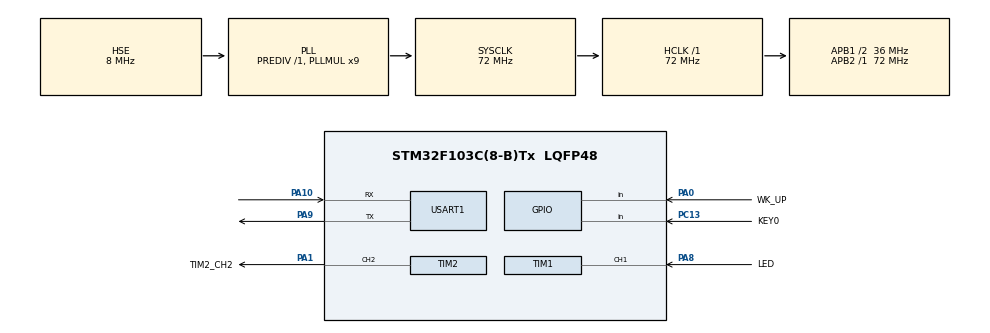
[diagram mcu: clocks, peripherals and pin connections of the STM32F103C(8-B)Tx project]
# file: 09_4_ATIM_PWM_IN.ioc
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Mcu.Family=STM32F1
Mcu.Name=STM32F103C(8-B)Tx
Mcu.Package=LQFP48
NVIC.PriorityGroup=NVIC_PRIORITYGROUP_2
NVIC.TIM1_CC_IRQn=true\:2\:1\:true\:false\:true\:true\:true\:true
NVIC.TIM1_UP_IRQn=true\:2\:1\:true\:false\:true\:true\:true\:true
NVIC.USART1_IRQn=true\:2\:0\:true\:false\:true\:true\:true\:true
PA0-WKUP.GPIO_Label=WK_UP
PA0-WKUP.GPIO_PuPd=GPIO_PULLDOWN
PA0-WKUP.Signal=GPIO_Input
PA1.GPIO_Label=TIM2_CH2
PA1.Signal=S_TIM2_CH2
PA10.Mode=Asynchronous
PA10.Signal=USART1_RX
PA13.Mode=Serial_Wire
PA13.Signal=SYS_JTMS-SWDIO
PA14.Mode=Serial_Wire
PA14.Signal=SYS_JTCK-SWCLK
PA8.GPIO_Label=LED
PA8.GPIO_Speed=GPIO_SPEED_FREQ_HIGH
PA8.Signal=S_TIM1_CH1
PA9.Mode=Asynchronous
PA9.Signal=USART1_TX
PC13-TAMPER-RTC.GPIO_Label=KEY0
PC13-TAMPER-RTC.GPIO_PuPd=GPIO_PULLUP
PC13-TAMPER-RTC.Signal=GPIO_Input
PC14-OSC32_IN.Mode=LSE-External-Oscillator
PC14-OSC32_IN.Signal=RCC_OSC32_IN
PC15-OSC32_OUT.Mode=LSE-External-Oscillator
PC15-OSC32_OUT.Signal=RCC_OSC32_OUT
PD0-OSC_IN.Mode=HSE-External-Oscillator
PD0-OSC_IN.Signal=RCC_OSC_IN
PD1-OSC_OUT.Mode=HSE-External-Oscillator
PD1-OSC_OUT.Signal=RCC_OSC_OUT
ProjectManager.HeapSize=0x200
ProjectManager.StackSize=0x400
ProjectManager.TargetToolchain=STM32CubeIDE
RCC.AHBFreq_Value=72000000
RCC.APB1CLKDivider=RCC_HCLK_DIV2
RCC.APB1Freq_Value=36000000
RCC.APB1TimFreq_Value=72000000
RCC.APB2Freq_Value=72000000
RCC.APB2TimFreq_Value=72000000
RCC.HCLKFreq_Value=72000000
RCC.PLLMUL=RCC_PLL_MUL9
RCC.PLLSourceVirtual=RCC_PLLSOURCE_HSE
RCC.SYSCLKFreq_VALUE=72000000
RCC.SYSCLKSource=RCC_SYSCLKSOURCE_PLLCLK
RCC.USBFreq_Value=72000000
SH.S_TIM1_CH1.0=TIM1_CH1,TriggerSource_TI1FP1
SH.S_TIM1_CH1.1=TIM1_CH1,Input_Capture1_from_TI1
SH.S_TIM2_CH2.0=TIM2_CH2,PWM Generation2 CH2
TIM1.AutoReloadPreload=TIM_AUTORELOAD_PRELOAD_ENABLE
TIM1.Channel-Input_Capture1_from_TI1=TIM_CHANNEL_1
TIM1.Channel-Input_Capture2_from_TI1_63=TIM_CHANNEL_2
TIM1.ICPolarity_CH2=TIM_INPUTCHANNELPOLARITY_FALLING
TIM2.AutoReloadPreload=TIM_AUTORELOAD_PRELOAD_ENABLE
TIM2.Channel-PWM\ Generation2\ CH2=TIM_CHANNEL_2
TIM2.OCPolarity_2=TIM_OCPOLARITY_LOW
TIM2.Period=10 - 1
TIM2.Prescaler=72 - 1
TIM2.Pulse-PWM\ Generation2\ CH2=5
USART1.VirtualMode=VM_ASYNC
VP_TIM1_VS_ClockSourceINT.Mode=Internal
VP_TIM1_VS_ControllerModeReset.Mode=Reset Mode
VP_TIM1_VS_indirect_ch1.Mode=Input_Capture2_from_TI1_63
VP_TIM2_VS_ClockSourceINT.Mode=Internal
board=custom

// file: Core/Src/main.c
/**
 ****************************************************************************************************
 * @file        main.c
 * @author      ALIENTEK
 * @brief       Advanced-control timers PWM input code
 * @license     Copyright (C) 2020-2032, ALIENTEK
 ****************************************************************************************************
 * @attention
 *
 * platform  	: ALIENTEK STM32F103 development board
 * website		: https://www.alientek.com
 * forum		: http://www.openedv.com/forum.php
 *
 * change logs	:
 * version		data		notes
 * V1.0			20240222	the first version
 *
 ****************************************************************************************************
 */

/* USER CODE BEGIN Header */

/* USER CODE END Header */
#include "main.h"
#include "tim.h"
#include "usart.h"
#include "gpio.h"

/* USER CODE BEGIN Includes */
#include "stdio.h"
#include "../../BSP/LED/led.h"
#include "../../BSP/KEY/key.h"
/* USER CODE END Includes */

void SystemClock_Config(void);
/* USER CODE BEGIN PFP */

extern uint8_t g_timxchy_pwmin_sta;    /* PWM input status. */
extern uint16_t g_timxchy_pwmin_psc;   /* PWM input frequency division coefficient. */
extern uint32_t g_timxchy_pwmin_hval;  /* High level pulse width of PWM. */
extern uint32_t g_timxchy_pwmin_cval;  /* PWM cycle width. */

/* USER CODE END PFP */

int main(void)
{
  /* USER CODE BEGIN 1 */
	  uint8_t t = 0;
	  float ht, ct, f, tpsc;
  /* USER CODE END 1 */

  /* MCU Configuration--------------------------------------------------------*/

  /* Reset of all peripherals, Initializes the Flash interface and the Systick. */
  HAL_Init();

  /* Configure the system clock */
  SystemClock_Config();

  /* Initialize all configured peripherals */
  MX_GPIO_Init();
  MX_USART1_UART_Init();
  MX_TIM1_Init();
  MX_TIM2_Init();

  /* Infinite loop */
  /* USER CODE BEGIN WHILE */
  while (1)
  {
	  HAL_Delay(10);  /* delay 10ms */
	  t++;

	  if (t >= 20)    /* The results are output every 200ms, and the LED0 is blinked to prompt the program to run. */
	  {
	  	  if (g_timxchy_pwmin_sta)    /* The data is captured once */
	  	  {
	  		  printf("\r\n");                                     /* The output is blank, and another line begins */
	  		  printf("PWM PSC  :%u\r\n", g_timxchy_pwmin_psc);    /* Print the frequency division coefficients */
	  		  printf("PWM Hight:%lu\r\n", g_timxchy_pwmin_hval);  /* Print high level pulse width */
	  		  printf("PWM Cycle:%lu\r\n", g_timxchy_pwmin_cval);  /* Print cycle */
	  		  tpsc = ((double)g_timxchy_pwmin_psc + 1) / 72;      /* The PWM sampling clock cycle time is obtained */
	  		  ht = g_timxchy_pwmin_hval * tpsc;                   /* Calculate the high level time */
	  		  ct = g_timxchy_pwmin_cval * tpsc;                   /* Calculating cycle length */
	  		  f = (1 / ct) * 1000000;                             /* Calculated rate */
	  		  printf("PWM Hight time:%.3fus\r\n", ht);            /* Print high level pulse width length */
	  		  printf("PWM Cycle time:%.3fus\r\n", ct);            /* Print cycle time length */
	  		  printf("PWM Frequency :%.3fHz\r\n", f);             /* Print frequency */
	  		  atim_timx_pwmin_chy_restart(); 				      /* Restart PWM input detection */
	  	  }

	  	  //LED_TOGGLE();   /* LED state is flipped */
	  	  t = 0;
	  }
    /* USER CODE END WHILE */

  }
}

void SystemClock_Config(void)
{
  RCC_OscInitTypeDef RCC_OscInitStruct = {0};
  RCC_ClkInitTypeDef RCC_ClkInitStruct = {0};

  /** Initializes the RCC Oscillators according to the specified parameters
  * in the RCC_OscInitTypeDef structure.
  */
  RCC_OscInitStruct.OscillatorType = RCC_OSCILLATORTYPE_HSE;
  RCC_OscInitStruct.HSEState = RCC_HSE_ON;
  RCC_OscInitStruct.HSEPredivValue = RCC_HSE_PREDIV_DIV1;
  RCC_OscInitStruct.HSIState = RCC_HSI_ON;
  RCC_OscInitStruct.PLL.PLLState = RCC_PLL_ON;
  RCC_OscInitStruct.PLL.PLLSource = RCC_PLLSOURCE_HSE;
  RCC_OscInitStruct.PLL.PLLMUL = RCC_PLL_MUL9;
  if (HAL_RCC_OscConfig(&RCC_OscInitStruct) != HAL_OK)
  {
    Error_Handler();
  }

  /** Initializes the CPU, AHB and APB buses clocks
  */
  RCC_ClkInitStruct.ClockType = RCC_CLOCKTYPE_HCLK|RCC_CLOCKTYPE_SYSCLK
                              |RCC_CLOCKTYPE_PCLK1|RCC_CLOCKTYPE_PCLK2;
  RCC_ClkInitStruct.SYSCLKSource = RCC_SYSCLKSOURCE_PLLCLK;
  RCC_ClkInitStruct.AHBCLKDivider = RCC_SYSCLK_DIV1;
  RCC_ClkInitStruct.APB1CLKDivider = RCC_HCLK_DIV2;
  RCC_ClkInitStruct.APB2CLKDivider = RCC_HCLK_DIV1;

  if (HAL_RCC_ClockConfig(&RCC_ClkInitStruct, FLASH_LATENCY_2) != HAL_OK)
  {
    Error_Handler();
  }
}

void Error_Handler(void)
{
  __disable_irq();
  while (1)
  {
  }
}
